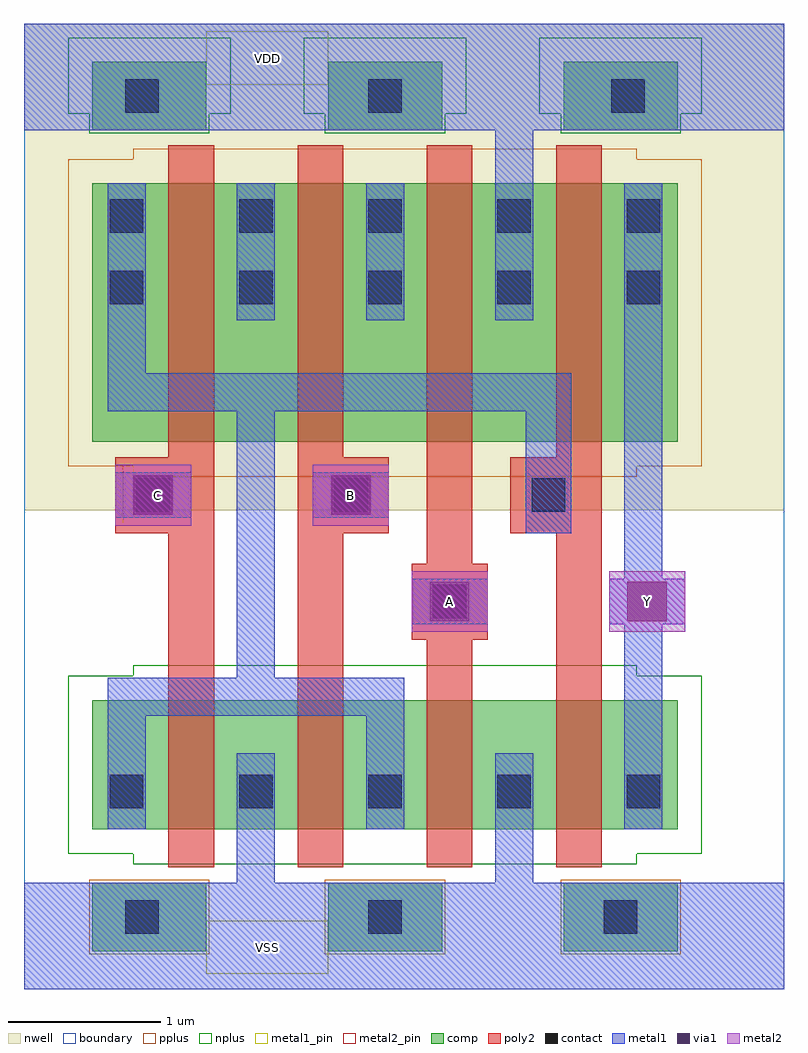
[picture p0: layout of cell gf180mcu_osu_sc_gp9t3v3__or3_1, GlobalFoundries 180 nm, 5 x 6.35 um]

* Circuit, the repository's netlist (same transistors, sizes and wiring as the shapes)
** sch_path: /home/usrvnc/gits/chipathon25-SILICON_BBI-sroutk/designs/libs/core_digital/gf180mcu_osu_sc_gp9t3v3/cells/or3/gf180mcu_osu_sc_gp9t3v3__or3_1.sch
.subckt gf180mcu_osu_sc_gp9t3v3__or3_1 A B C VDD Y VSS
*.PININFO A:I B:I C:I VDD:B Y:O VSS:B
XM4 net2 A VDD VDD pfet_03v3 L=0.3u W=1.7u nf=1 ad='int((nf+1)/2) * W/nf * 0.18u' as='int((nf+2)/2) * W/nf * 0.18u' pd='2*int((nf+1)/2) * (W/nf + 0.18u)'
+ ps='2*int((nf+2)/2) * (W/nf + 0.18u)' nrd='0.18u / W' nrs='0.18u / W' sa=0 sb=0 sd=0 m=1
XM3 net3 A VSS VSS nfet_03v3 L=0.3u W=0.85u nf=1 ad='int((nf+1)/2) * W/nf * 0.18u' as='int((nf+2)/2) * W/nf * 0.18u' pd='2*int((nf+1)/2) * (W/nf + 0.18u)'
+ ps='2*int((nf+2)/2) * (W/nf + 0.18u)' nrd='0.18u / W' nrs='0.18u / W' sa=0 sb=0 sd=0 m=1
XM1 net1 B net2 VDD pfet_03v3 L=0.3u W=1.7u nf=1 ad='int((nf+1)/2) * W/nf * 0.18u' as='int((nf+2)/2) * W/nf * 0.18u' pd='2*int((nf+1)/2) * (W/nf + 0.18u)'
+ ps='2*int((nf+2)/2) * (W/nf + 0.18u)' nrd='0.18u / W' nrs='0.18u / W' sa=0 sb=0 sd=0 m=1
XM2 net3 C net1 VDD pfet_03v3 L=0.3u W=1.7u nf=1 ad='int((nf+1)/2) * W/nf * 0.18u' as='int((nf+2)/2) * W/nf * 0.18u' pd='2*int((nf+1)/2) * (W/nf + 0.18u)'
+ ps='2*int((nf+2)/2) * (W/nf + 0.18u)' nrd='0.18u / W' nrs='0.18u / W' sa=0 sb=0 sd=0 m=1
XM5 net3 B VSS VSS nfet_03v3 L=0.3u W=0.85u nf=1 ad='int((nf+1)/2) * W/nf * 0.18u' as='int((nf+2)/2) * W/nf * 0.18u' pd='2*int((nf+1)/2) * (W/nf + 0.18u)'
+ ps='2*int((nf+2)/2) * (W/nf + 0.18u)' nrd='0.18u / W' nrs='0.18u / W' sa=0 sb=0 sd=0 m=1
XM6 net3 C VSS VSS nfet_03v3 L=0.3u W=0.85u nf=1 ad='int((nf+1)/2) * W/nf * 0.18u' as='int((nf+2)/2) * W/nf * 0.18u' pd='2*int((nf+1)/2) * (W/nf + 0.18u)'
+ ps='2*int((nf+2)/2) * (W/nf + 0.18u)' nrd='0.18u / W' nrs='0.18u / W' sa=0 sb=0 sd=0 m=1
XM7 Y net3 VSS VSS nfet_03v3 L=0.3u W=0.85u nf=1 ad='int((nf+1)/2) * W/nf * 0.18u' as='int((nf+2)/2) * W/nf * 0.18u' pd='2*int((nf+1)/2) * (W/nf + 0.18u)'
+ ps='2*int((nf+2)/2) * (W/nf + 0.18u)' nrd='0.18u / W' nrs='0.18u / W' sa=0 sb=0 sd=0 m=1
XM8 Y net3 VDD VDD pfet_03v3 L=0.3u W=1.7u nf=1 ad='int((nf+1)/2) * W/nf * 0.18u' as='int((nf+2)/2) * W/nf * 0.18u' pd='2*int((nf+1)/2) * (W/nf + 0.18u)'
+ ps='2*int((nf+2)/2) * (W/nf + 0.18u)' nrd='0.18u / W' nrs='0.18u / W' sa=0 sb=0 sd=0 m=1
.ends

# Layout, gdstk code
import gdstk
lib = gdstk.Library(unit=1e-6, precision=1e-09)
def R(c, l, rs):  # rectangles x0, y0, x1, y1
    for r in rs: c.add(gdstk.rectangle(r[:2], r[2:], *l))
def A(c, l, x, y, w, h, nx, ny, dx, dy):  # array of equal rectangles
    R(c, l, [(x+i*dx, y+j*dy, x+i*dx+w, y+j*dy+h) for i in range(nx) for j in range(ny)])
boundary = (0, 0)
nwell = (21, 0)
comp = (22, 0)
poly2 = (30, 0)
pplus = (31, 0)
nplus = (32, 0)
contact = (33, 0)
metal1 = (34, 0)
metal1_pin = (34, 10)
via1 = (35, 0)
metal2 = (36, 0)
metal2_pin = (36, 10)

gf180mcu_osu_sc_gp9t3v3_ = lib.new_cell('gf180mcu_osu_sc_gp9t3v3__or3_1')
R(gf180mcu_osu_sc_gp9t3v3_, boundary, [(5.25,0,10.25,6.35)])
R(gf180mcu_osu_sc_gp9t3v3_, nwell, [(5.25,3.15,10.25,6.35)])
A(gf180mcu_osu_sc_gp9t3v3_, comp, 5.7, 0.25, 0.75, 0.45, 3, 2, 1.55, 5.4)
R(gf180mcu_osu_sc_gp9t3v3_, comp, [(5.7,1.05,9.55,1.9), (5.7,3.6,9.55,5.3)])
R(gf180mcu_osu_sc_gp9t3v3_, poly2, [(6.2,0.8,6.5,3), (7.05,0.8,7.35,3), (7.9,0.8,8.2,2.3), (8.75,0.8,9.05,3), (7.8,2.3,8.3,2.8), (7.9,2.8,8.2,5.55), (5.85,3,6.5,3.5), (7.05,3,7.65,3.5), (8.45,3,9.05,3.5), (6.2,3.5,6.5,5.55), (7.05,3.5,7.35,5.55), (8.75,3.5,9.05,5.55)])
A(gf180mcu_osu_sc_gp9t3v3_, pplus, 5.68, 0.23, 0.79, 0.49, 3, 1, 1.55, 0)
R(gf180mcu_osu_sc_gp9t3v3_, pplus, [(5.97,3.37,9.28,3.44), (5.54,3.44,9.71,5.46), (5.97,5.46,9.28,5.53)])
A(gf180mcu_osu_sc_gp9t3v3_, nplus, 5.68, 5.63, 0.79, 0.13, 3, 1, 1.55, 0)
A(gf180mcu_osu_sc_gp9t3v3_, nplus, 5.54, 5.76, 1.07, 0.5, 3, 1, 1.55, 0)
R(gf180mcu_osu_sc_gp9t3v3_, nplus, [(5.97,0.82,9.28,0.89), (5.54,0.89,9.71,2.06), (5.97,2.06,9.28,2.13)])
A(gf180mcu_osu_sc_gp9t3v3_, contact, 5.815, 1.19, 0.22, 0.22, 5, 2, 0.85, 3.315)
A(gf180mcu_osu_sc_gp9t3v3_, contact, 5.99, 3.14, 0.22, 0.22, 3, 1, 1.3, 0)
A(gf180mcu_osu_sc_gp9t3v3_, contact, 5.815, 4.975, 0.22, 0.22, 5, 1, 0.85, 0)
A(gf180mcu_osu_sc_gp9t3v3_, contact, 5.915, 5.765, 0.22, 0.22, 3, 1, 1.6, 0)
R(gf180mcu_osu_sc_gp9t3v3_, contact, [(5.915,0.365,6.135,0.585), (7.515,0.365,7.735,0.585), (9.065,0.365,9.285,0.585), (7.94,2.44,8.16,2.66)])
R(gf180mcu_osu_sc_gp9t3v3_, metal1, [(5.25,0,10.25,0.7), (6.65,0.7,6.9,1.55), (8.35,0.7,8.6,1.55), (5.8,1.05,6.05,1.8), (7.5,1.05,7.75,1.8), (9.2,1.05,9.45,2.4), (5.8,1.8,7.75,2.05), (6.65,2.05,6.9,3.8), (7.8,2.4,8.3,2.7), (9.1,2.4,9.6,2.7), (9.2,2.7,9.45,5.3), (8.55,3,8.85,3.8), (5.85,3.1,6.35,3.4), (7.15,3.1,7.65,3.4), (5.8,3.8,8.85,4.05), (5.8,4.05,6.05,5.3), (6.65,4.4,6.9,5.3), (7.5,4.4,7.75,5.3), (8.35,4.4,8.6,5.65), (5.25,5.65,10.25,6.35)])
R(gf180mcu_osu_sc_gp9t3v3_, metal1_pin, [(6.45,0.1,7.25,0.45), (6.45,5.95,7.25,6.3)])
R(gf180mcu_osu_sc_gp9t3v3_, via1, [(7.92,2.42,8.18,2.68), (9.22,2.42,9.48,2.68), (5.97,3.12,6.23,3.38), (7.27,3.12,7.53,3.38)])
R(gf180mcu_osu_sc_gp9t3v3_, metal2, [(7.8,2.35,8.3,2.75), (9.1,2.35,9.6,2.75), (5.85,3.05,6.35,3.45), (7.15,3.05,7.65,3.45)])
R(gf180mcu_osu_sc_gp9t3v3_, metal2_pin, [(7.8,2.35,8.3,2.75), (9.1,2.35,9.6,2.75), (5.9,3.05,6.35,3.45), (7.15,3.05,7.65,3.45)])
gf180mcu_osu_sc_gp9t3v3_.add(gdstk.Label('A', (8.05,2.55), layer=36, texttype=10))
gf180mcu_osu_sc_gp9t3v3_.add(gdstk.Label('B', (7.4,3.25), layer=36, texttype=10))
gf180mcu_osu_sc_gp9t3v3_.add(gdstk.Label('C', (6.125,3.25), layer=36, texttype=10))
gf180mcu_osu_sc_gp9t3v3_.add(gdstk.Label('VDD', (6.85,6.125), layer=34, texttype=10))
gf180mcu_osu_sc_gp9t3v3_.add(gdstk.Label('Y', (9.35,2.55), layer=36, texttype=10))
gf180mcu_osu_sc_gp9t3v3_.add(gdstk.Label('VSS', (6.85,0.275), layer=34, texttype=10))

lib.write_gds('gf180mcu_osu_sc_gp9t3v3__or3_1.gds')
